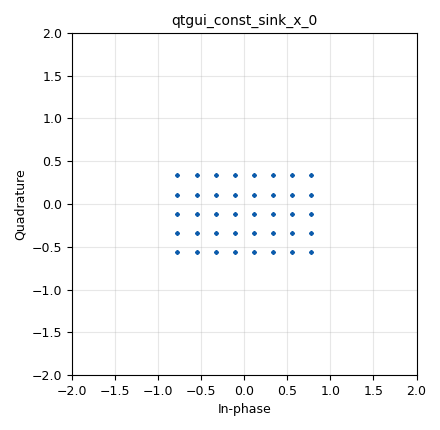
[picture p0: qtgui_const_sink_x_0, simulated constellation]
options:
  parameters:
    author: ivy
    generate_options: qt_gui
    generator_class_name: PythonQtGuiGenerator
    generator_module: gnuradio.grc.workflows.python_qt_gui
    id: piradiotest
    output_language: python
    title: Not titled yet
  states: {}

blocks:
- name: samp_rate
  id: variable
  parameters:
    value: '32000'
  states: {}
- name: blocks_vector_source_x_0
  id: blocks_vector_source_x
  parameters:
    repeat: 'True'
    type: complex
    vector: |
      [(-0.7777777777777778+0.33333333333333337j), (-0.5555555555555556+0.33333333333333337j), (-0.33333333333333337+0.33333333333333337j), (-0.11111111111111116+0.33333333333333337j), (0.11111111111111116+0.33333333333333337j), (0.33333333333333326+0.33333333333333337j), (0.5555555555555556+0.33333333333333337j), (0.7777777777777777+0.33333333333333337j), (-0.7777777777777778+0.11111111111111116j), (-0.5555555555555556+0.11111111111111116j), (-0.33333333333333337+0.11111111111111116j), (-0.11111111111111116+0.11111111111111116j), (0.11111111111111116+0.11111111111111116j), (0.33333333333333326+0.11111111111111116j), (0.5555555555555556+0.11111111111111116j), (0.7777777777777777+0.11111111111111116j), (-0.7777777777777778-0.11111111111111116j), (-0.5555555555555556-0.11111111111111116j), (-0.33333333333333337-0.11111111111111116j), (-0.11111111111111116-0.11111111111111116j), (0.11111111111111116-0.11111111111111116j), (0.33333333333333326-0.11111111111111116j), (0.5555555555555556-0.11111111111111116j), (0.7777777777777777-0.11111111111111116j), (-0.7777777777777778-0.33333333333333326j), (-0.5555555555555556-0.33333333333333326j), (-0.33333333333333337-0.33333333333333326j), (-0.11111111111111116-0.33333333333333326j), (0.11111111111111116-0.33333333333333326j), (0.33333333333333326-0.33333333333333326j), (0.5555555555555556-0.33333333333333326j), (0.7777777777777777-0.33333333333333326j), (-0.7777777777777778-0.5555555555555556j), (-0.5555555555555556-0.5555555555555556j), (-0.33333333333333337-0.5555555555555556j), (-0.11111111111111116-0.5555555555555556j), (0.11111111111111116-0.5555555555555556j), (0.33333333333333326-0.5555555555555556j), (0.5555555555555556-0.5555555555555556j), (0.7777777777777777-0.5555555555555556j)]
  states: {}
- name: qtgui_const_sink_x_0
  id: qtgui_const_sink_x
  parameters:
    size: '1024'
    type: complex
  states: {}

connections:
- [blocks_vector_source_x_0, '0', qtgui_const_sink_x_0, '0']

metadata:
  file_format: 1
  grc_version: 3.10.12.0
